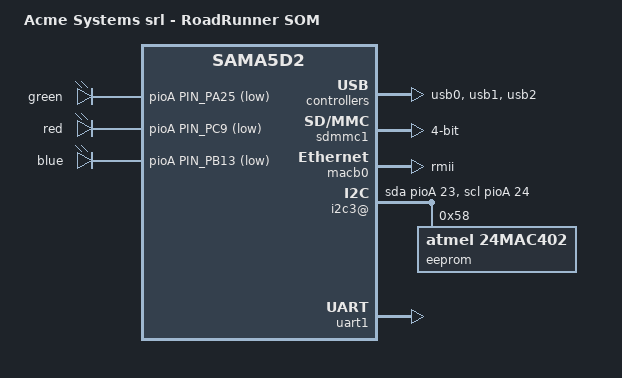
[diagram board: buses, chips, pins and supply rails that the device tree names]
// SPDX-License-Identifier: (GPL-2.0+ OR MIT)
/*
 * acme-roadrunner.dts - Device Tree file for Roadrunner SOM
 *
 *  Copyright (C) 2015 Atmel,
 *                2015 Nicolas Ferre <nicolas.ferre@atmel.com>
 * 	
 *  Copyright (C) 2023 Sergio Tanzilli <tanzilli@acmesystems.it>
 */
/dts-v1/;
#include "sama5d2.dtsi"
#include "sama5d2-pinfunc.h"
#include <dt-bindings/mfd/atmel-flexcom.h>
#include <dt-bindings/gpio/gpio.h>
#include <dt-bindings/input/input.h> 

/ {
	model = "Acme Systems srl - RoadRunner SOM";
	compatible = "atmel,sama5d2-roadrunner", "atmel,sama5d2", "atmel,sama5";

	chosen {
		stdout-path = "serial0:115200n8";
		bootargs = "mem=256M console=ttyS0,115200 root=/dev/mmcblk0p2 rootfstype=ext4 rw rootwait net.ifnames=0";
	};

	clocks {
		slow_xtal {
			clock-frequency = <32768>;
		};

		main_xtal {
			clock-frequency = <12000000>;
		};
	};
 
	ahb {
		usb0: gadget@300000 {
			/* atmel,vbus-gpio = <&pioA PIN_PA31 GPIO_ACTIVE_HIGH>;
			pinctrl-names = "default";
			pinctrl-0 = <&pinctrl_usba_vbus>; */
			status = "okay";
		};

		usb1: ohci@400000 {
			num-ports = <3>;
			/* atmel,vbus-gpio = <0 &pioA PIN_PB9 GPIO_ACTIVE_HIGH 
					   &pioA PIN_PB10 GPIO_ACTIVE_HIGH
					   0
					  >; */
			/* pinctrl-names = "default";
			pinctrl-0 = <&pinctrl_usb_default>; */
			status = "okay";
		};

		usb2: ehci@500000 {
			status = "okay";
		};

		sdmmc1: sdio-host@b0000000 {
			bus-width = <4>;
			pinctrl-names = "default";
			pinctrl-0 = <&pinctrl_sdmmc1_default>;
			status = "okay"; /* conflict with qspi0 */
		};

		apb {
			macb0: ethernet@f8008000 {
				pinctrl-names = "default";
				/* pinctrl-0 = <&pinctrl_macb0_default &pinctrl_macb0_phy_irq>; */
				pinctrl-0 = <&pinctrl_macb0_default>; 
				phy-mode = "rmii";
				status = "okay";

				#address-cells = <1>;
				#size-cells = <0>;
				nvmem-cells = <&eth0_addr>;
				nvmem-cell-names = "mac-address";


				/* ethernet-phy@1 {
					reg = <0x1>;
				}; */
			};

			/* Bit banging internal I2C to manage the AT24MAC402 chip */

			i2c3@ {
				compatible = "i2c-gpio";

				sda-gpios = <&pioA 23 (GPIO_ACTIVE_HIGH|GPIO_OPEN_DRAIN)>;
				scl-gpios = <&pioA 24 (GPIO_ACTIVE_HIGH|GPIO_OPEN_DRAIN)>; 
				
				pinctrl-names = "default";
				pinctrl-0 = <&pinctrl_i2c3_gpio>;
				
				i2c-gpio,delay-us = <4>; /* ~178 kHz */
				#address-cells = <1>;
				#size-cells = <0>;

				/* EEPROM contains the eth0 MAC address */
				
				eeprom@58 {
					compatible = "atmel,24mac402";
					pagesize = <256>;
					read-only;
					reg = <0x58>;
					#address-cells = <1>;
					#size-cells = <1>;

					eth0_addr: eth-mac-addr@9A {
						reg = <0x0 0x06>;
					};
				};

			};


			tcb0: timer@f800c000 {
				timer0: timer@0 {
					compatible = "atmel,tcb-timer";
					reg = <0>;
				};

				timer1: timer@1 {
					compatible = "atmel,tcb-timer";
					reg = <1>;
				};
			};

			uart1: serial@f8020000 {
				pinctrl-names = "default";
				pinctrl-0 = <&pinctrl_uart1_default>;
				atmel,use-dma-rx;
				atmel,use-dma-tx;
				status = "okay";
			};

			shdwc@f8048010 {
				atmel,shdwc-debouncer = <976>;
				atmel,wakeup-rtc-timer;

				input@0 {
					reg = <0>;
					atmel,wakeup-type = "low";
				};
			};

			watchdog@f8048040 {
				status = "okay";
			};

			pinctrl@fc038000 {
				pinctrl_macb0_default: macb0_default {
					pinmux = <PIN_PB14__GTXCK>,
						 <PIN_PB15__GTXEN>,
						 <PIN_PB16__GRXDV>,
						 <PIN_PB17__GRXER>,
						 <PIN_PB18__GRX0>,
						 <PIN_PB19__GRX1>,
						 <PIN_PB20__GTX0>,
						 <PIN_PB21__GTX1>,
						 <PIN_PB22__GMDC>,
						 <PIN_PB23__GMDIO>;
					bias-disable;
				};

				/*
				pinctrl_macb0_phy_irq: macb0_phy_irq {
					pinmux = <PIN_PC9__GPIO>;
					bias-disable;
				};
				*/

				pinctrl_sdmmc1_default: sdmmc1_default {
					cmd_data {
						pinmux = <PIN_PA28__SDMMC1_CMD>,
							 <PIN_PA18__SDMMC1_DAT0>,
							 <PIN_PA19__SDMMC1_DAT1>,
							 <PIN_PA20__SDMMC1_DAT2>,
							 <PIN_PA21__SDMMC1_DAT3>;
						bias-pull-up;
					};

					conf-ck_cd {
						pinmux = <PIN_PA22__SDMMC1_CK>,
							 <PIN_PA30__SDMMC1_CD>;
						bias-disable;
					};
				};


				pinctrl_uart1_default: uart1_default {
					pinmux = <PIN_PD2__URXD1>,
						 <PIN_PD3__UTXD1>;
					bias-disable;
				};

				pinctrl_usb_default: usb_default {
					pinmux = <PIN_PB10__GPIO>;
					bias-disable;
				};

				pinctrl_usba_vbus: usba_vbus {
					pinmux = <PIN_PA31__GPIO>;
					bias-disable;
				};

				pinctrl_led_gpio_default: led_gpio_default {
					pinmux = <PIN_PA25__GPIO>,
						 <PIN_PC9__GPIO>,
						 <PIN_PB31__GPIO>;
					bias-disable;
				};

				pinctrl_i2c3_gpio: i2c3-gpio {
					pinmux = <PIN_PA24__GPIO>,
							<PIN_PA23__GPIO>;
					bias-disable;		
				};
				
			};
		};
	};


	leds {
		compatible = "gpio-leds";
		pinctrl-names = "default";
		pinctrl-0 = <&pinctrl_led_gpio_default>;
		status = "okay"; /* Conflict with pwm0. */

		green {
			label = "green";
			gpios = <&pioA PIN_PA25 GPIO_ACTIVE_LOW>;
			linux,default-trigger = "none";
		};

		red {
			label = "red";
			gpios = <&pioA PIN_PC9 GPIO_ACTIVE_LOW>;
			linux,default-trigger = "none";
		};

		blue {
			label = "blue";
			gpios = <&pioA PIN_PB13 GPIO_ACTIVE_LOW>;
			linux,default-trigger = "none";
		};
	};

};
